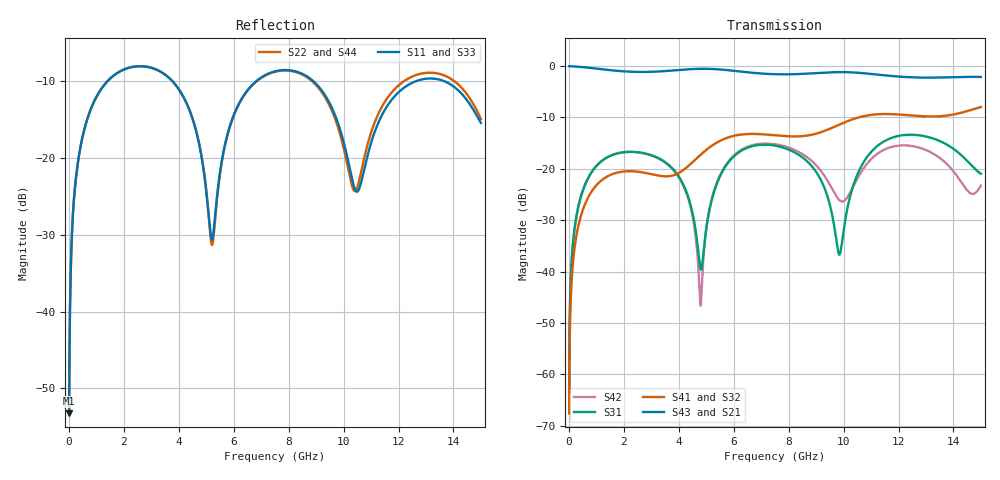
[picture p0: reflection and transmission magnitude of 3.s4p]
! Created with skrf 1.8.0 (http://scikit-rf.org).
# GHz S RI R 50.0
!freq ReS11 ImS11 ReS12 ImS12 ReS13 ImS13
! ReS14 ImS14
! ReS21 ImS21 ReS22 ImS22 ReS23 ImS23
! ReS24 ImS24
! ReS31 ImS31 ReS32 ImS32 ReS33 ImS33
! ReS34 ImS34
! ReS41 ImS41 ReS42 ImS42 ReS43 ImS43
! ReS44 ImS44
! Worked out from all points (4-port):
!   2499 points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, 5 MHz to 15 GHz, reference 50 ohm
!   strongest paths, dB at 5 MHz, 3.476 GHz, 7.19 GHz, 11.1 GHz, 15 GHz:
!     S43: 0.0, -1.0, -1.5, -1.6, -2.1
!     S21: 0.0, -1.0, -1.5, -1.6, -2.1
!     S41: -67.6, -21.5, -13.3, -9.4, -8.0
!     S32: -67.6, -21.5, -13.3, -9.4, -8.0
!     S31: -63.8, -18.6, -15.3, -16.2, -21.0
!     S42: -63.8, -18.7, -15.1, -17.6, -23.3
!   lowest |S11| = -53.3 dB at 5 MHz (marker M1), VSWR 1.00, Z = 50.2 + j0.132 ohm
!   |S11| at or under -10 dB: start of sweep to 1.395 GHz; 3.772 GHz to 6.81 GHz (3.037 GHz wide, 57.4 % of centre); 8.908 GHz to 12.62 GHz (3.707 GHz wide, 34.4 % of centre) (the widest 3 of 4)
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0.005  0.00172 0.00132  0.9982 -0.00336  8.54e-05 0.00064  -8.32e-05 -0.000409
       0.9982 -0.00336  0.00172 0.00132  -8.32e-05 -0.000409  8.54e-05 0.00064
       8.54e-05 0.00064  -8.32e-05 -0.000409  0.00172 0.00132  0.9982 -0.00336
       -8.32e-05 -0.000409  8.54e-05 0.00064  0.9982 -0.00336  0.00172 0.00132
0.3126303  0.0261 0.0863  0.9643 -0.2085  0.0114 0.0378  -0.00957 -0.0238
           0.9643 -0.2085  0.0262 0.0863  -0.00956 -0.0238  0.0114 0.0378
           0.0114 0.0378  -0.00956 -0.0238  0.0261 0.0863  0.9643 -0.2085
           -0.00957 -0.0238  0.0114 0.0378  0.9643 -0.2085  0.0262 0.0863
1.569404  0.2913 0.1727  0.5056 -0.7547  0.1266 0.0502  -0.0886 0.000425
          0.5056 -0.7547  0.2917 0.1723  -0.0885 0.000327  0.1259 0.0514
          0.1266 0.0502  -0.0885 0.000327  0.2913 0.1726  0.5057 -0.7547
          -0.0886 0.000425  0.1259 0.0514  0.5057 -0.7547  0.2916 0.1724
4.795748  0.0527 -0.0967  -0.8916 -0.301  -0.0103 -0.00212  -0.0392 0.1315
          -0.8916 -0.301  0.0507 -0.0983  -0.0405 0.1311  -0.00466 2.25e-05
          -0.0103 -0.00212  -0.0405 0.1311  0.0517 -0.0961  -0.8917 -0.3009
          -0.0392 0.1315  -0.00466 2.25e-05  -0.8917 -0.3009  0.0511 -0.0973
7.984577  0.374 -0.0219  -0.0275 0.8313  0.1361 -0.0732  0.1995 -0.0569
          -0.0275 0.8313  0.371 -0.0208  0.1996 -0.0539  0.1358 -0.0877
          0.1361 -0.0732  0.1996 -0.0539  0.3745 -0.0211  -0.0282 0.8313
          0.1995 -0.0569  0.1358 -0.0877  -0.0282 0.8313  0.3706 -0.0209
10.77949  0.074 0.0486  0.8477 -0.0628  0.0697 0.0998  -0.0449 -0.3243
          0.8477 -0.0628  0.081 0.0672  -0.0391 -0.325  0.0209 0.1035
          0.0697 0.0998  -0.0391 -0.325  0.0742 0.0513  0.8477 -0.0618
          -0.0449 -0.3243  0.0209 0.1035  0.8477 -0.0618  0.0813 0.0682
15  0.1536 -0.072  -0.6315 -0.4648  -0.0882 -0.0153  -0.2344 0.324
    -0.6315 -0.4648  0.1454 -0.1062  -0.2424 0.3181  -0.0624 0.0288
    -0.0882 -0.0153  -0.2424 0.3181  0.1575 -0.0713  -0.6283 -0.4685
    -0.2344 0.324  -0.0624 0.0288  -0.6283 -0.4685  0.1455 -0.1099
